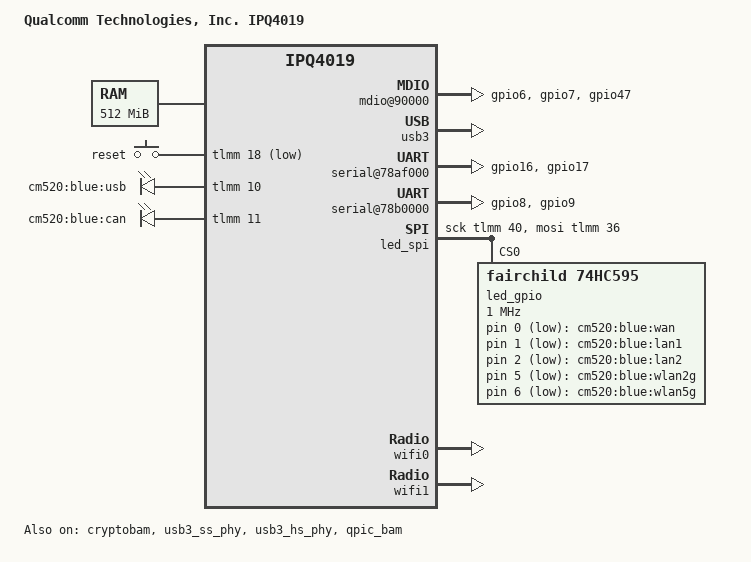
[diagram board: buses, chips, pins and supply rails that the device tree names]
/* Copyright (c) 2015, The Linux Foundation. All rights reserved.
 * Copyright (c) 2018, David Bauer <mail@david-bauer.net>
 *
 * Permission to use, copy, modify, and/or distribute this software for any
 * purpose with or without fee is hereby granted, provided that the above
 * copyright notice and this permission notice appear in all copies.
 *
 * THE SOFTWARE IS PROVIDED "AS IS" AND THE AUTHOR DISCLAIMS ALL WARRANTIES
 * WITH REGARD TO THIS SOFTWARE INCLUDING ALL IMPLIED WARRANTIES OF
 * MERCHANTABILITY AND FITNESS. IN NO EVENT SHALL THE AUTHOR BE LIABLE FOR
 * ANY SPECIAL, DIRECT, INDIRECT, OR CONSEQUENTIAL DAMAGES OR ANY DAMAGES
 * WHATSOEVER RESULTING FROM LOSS OF USE, DATA OR PROFITS, WHETHER IN AN
 * ACTION OF CONTRACT, NEGLIGENCE OR OTHER TORTIOUS ACTION, ARISING OUT OF
 * OR IN CONNECTION WITH THE USE OR PERFORMANCE OF THIS SOFTWARE.
 *
 */

#include "qcom-ipq4019.dtsi"
#include <dt-bindings/gpio/gpio.h>
#include <dt-bindings/input/input.h>
#include <dt-bindings/soc/qcom,tcsr.h>

/ {
	model = "Qualcomm Technologies, Inc. IPQ4019";
	compatible = "qcom,cm520", "qcom,ipq4019";

	aliases {
		led-boot = &led_sys;
		led-failsafe = &led_sys;
		led-running = &led_sys;
		led-upgrade = &led_sys;
	};

	memory {
		device_type = "memory";
		reg = <0x80000000 0x20000000>;
	};

	chosen {
		bootargs-append = "ubi.block=0,1 root=/dev/ubiblock0_1 rootfstype=squashfs";
	};

	soc {
		rng@22000 {
			status = "okay";
		};

		mdio@90000 {
			status = "okay";
			pinctrl-0 = <&mdio_pins>;
			pinctrl-names = "default";
			/delete-node/ ethernet-phy@0;
			/delete-node/ ethernet-phy@1;
		};

		ess-psgmii@98000 {
			status = "okay";
		};

		tcsr@1949000 {
			compatible = "qcom,tcsr";
			reg = <0x1949000 0x100>;
			qcom,wifi_glb_cfg = <TCSR_WIFI_GLB_CFG>;
		};

		tcsr@194b000 {
			compatible = "qcom,tcsr";
			reg = <0x194b000 0x100>;
			qcom,usb-hsphy-mode-select = <TCSR_USB_HSPHY_HOST_MODE>;
		};

		ess_tcsr@1953000 {
			compatible = "qcom,tcsr";
			reg = <0x1953000 0x1000>;
			qcom,ess-interface-select = <TCSR_ESS_PSGMII>;
		};

		tcsr@1957000 {
			compatible = "qcom,tcsr";
			reg = <0x1957000 0x100>;
			qcom,wifi_noc_memtype_m0_m2 = <TCSR_WIFI_NOC_MEMTYPE_M0_M2>;
		};

		usb3@8af8800 {
			status = "okay";
		};

		crypto@8e3a000 {
			status = "okay";
		};

		watchdog@b017000 {
			status = "okay";
		};

		qca8075: ess-switch@c000000 {
			status = "okay";
			switch_lan_bmp = <0x18>;
			switch_wan_bmp = <0x20>;

			#gpio-cells = <2>;
			gpio-controller;
		};

		edma@c080000 {
			status = "okay";
		};

		serial@78af000 {
			pinctrl-0 = <&serial_0_pins>;
			pinctrl-names = "default";
			status = "okay";
		};

		serial@78b0000 {
			pinctrl-0 = <&serial_1_pins>;
			pinctrl-names = "default";
			status = "okay";
		};

		usb3: usb3@8af8800 {
			status = "okay";

			dwc3@8a00000 {
				#address-cells = <1>;
				#size-cells = <0>;

				usb3_port1: port@1 {
					reg = <1>;
					#trigger-source-cells = <0>;
				};

				usb3_port2: port@2 {
					reg = <2>;
					#trigger-source-cells = <0>;
				};
			};
		};
	};

	gpio-keys {
		compatible = "gpio-keys";

		reset {
			label = "reset";
			gpios = <&tlmm 18 GPIO_ACTIVE_LOW>;
			linux,code = <KEY_RESTART>;
		};
	};

	led_spi {
		compatible = "spi-gpio";
		#address-cells = <1>;

		gpio-sck = <&tlmm 40 GPIO_ACTIVE_HIGH>;
		gpio-mosi = <&tlmm 36 GPIO_ACTIVE_HIGH>;
		num-chipselects = <0>;

		led_gpio: led_gpio@0 {
			compatible = "fairchild,74hc595";
			reg = <0>;
			gpio-controller;
			#gpio-cells = <2>;
			registers-number = <1>;
			spi-max-frequency = <1000000>;
		};
	};

	leds {
		compatible = "gpio-leds";

		usb {
			label = "cm520:blue:usb";
			gpios = <&tlmm 10 GPIO_ACTIVE_HIGH>;
			linux,default-trigger = "usbport";
			trigger-sources = <&usb3_port1>, <&usb3_port2>;
		};

		led_sys: can {
			label = "cm520:blue:can";
			gpios = <&tlmm 11 GPIO_ACTIVE_HIGH>;
		};

		wan {
			label = "cm520:blue:wan";
			gpios = <&led_gpio 0 GPIO_ACTIVE_LOW>;
		};

		lan1 {
			label = "cm520:blue:lan1";
			gpios = <&led_gpio 1 GPIO_ACTIVE_LOW>;
		};

		lan2 {
			label = "cm520:blue:lan2";
			gpios = <&led_gpio 2 GPIO_ACTIVE_LOW>;
		};

		wlan2g {
			label = "cm520:blue:wlan2g";
			gpios = <&led_gpio 5 GPIO_ACTIVE_LOW>;
			linux,default-trigger = "phy0tpt";
		};

		wlan5g {
			label = "cm520:blue:wlan5g";
			gpios = <&led_gpio 6 GPIO_ACTIVE_LOW>;
			linux,default-trigger = "phy1tpt";
		};
	};
};

&tlmm {
	serial_0_pins: serial_pinmux {
		mux {
			pins = "gpio16", "gpio17";
			function = "blsp_uart0";
			bias-disable;
		};
	};

	serial_1_pins: serial1_pinmux {
		mux {
			pins = "gpio8", "gpio9";
			function = "blsp_uart1";
			bias-disable;
		};
	};

	mdio_pins: mdio_pinmux {
		mux_1 {
			pins = "gpio6";
			function = "mdio";
			bias-pull-up;
		};

		mux_2 {
			pins = "gpio7";
			function = "mdc";
			bias-pull-up;
		};

		pin_rst {
			pins = "gpio47";
			function = "gpio";
			bias-disable;
			output-high;
		};
	};

	nand_pins: nand_pins {

		pullups {
			pins = "gpio52", "gpio53", "gpio58",
				"gpio59";
			function = "qpic";
			bias-pull-up;
		};

		pulldowns {
			pins = "gpio54", "gpio55", "gpio56",
				"gpio57", "gpio60", "gpio61",
				"gpio62", "gpio63", "gpio64",
				"gpio65", "gpio66", "gpio67",
				"gpio68", "gpio69";
			function = "qpic";
			bias-pull-down;
		};
	};
};

&cryptobam {
	status = "okay";
};

&blsp_dma {
	status = "okay";
};

&usb3_ss_phy {
	status = "okay";
};

&usb3_hs_phy {
	status = "okay";
};

&qpic_bam {
	status = "okay";
};

&wifi0 {
	status = "okay";
	qcom,ath10k-calibration-variant = "CM520";
};

&wifi1 {
	status = "okay";
	qcom,ath10k-calibration-variant = "CM520";
};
